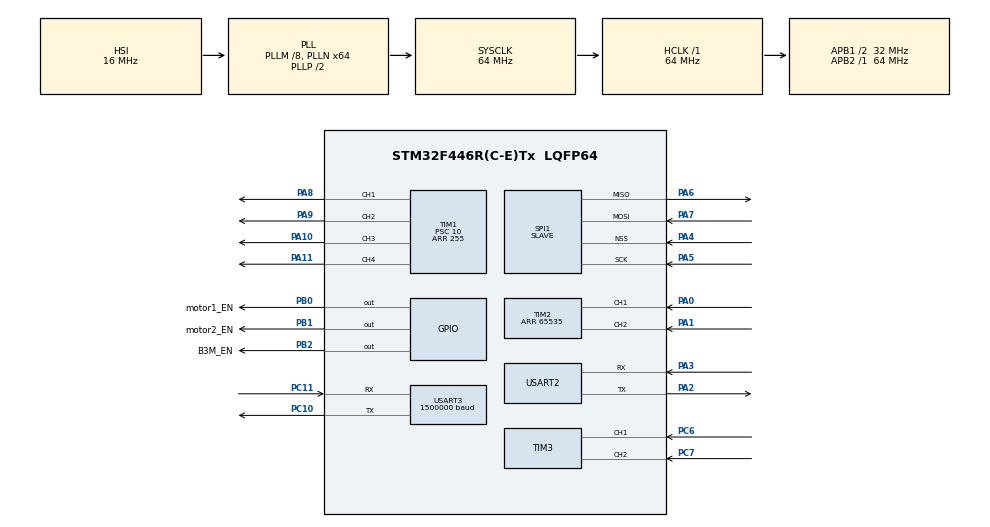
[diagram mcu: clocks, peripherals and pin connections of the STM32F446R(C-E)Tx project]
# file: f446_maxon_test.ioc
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Mcu.Family=STM32F4
Mcu.Name=STM32F446R(C-E)Tx
Mcu.Package=LQFP64
NVIC.PriorityGroup=NVIC_PRIORITYGROUP_4
PA0-WKUP.Signal=S_TIM2_CH1_ETR
PA1.Signal=S_TIM2_CH2
PA10.Signal=S_TIM1_CH3
PA11.Signal=S_TIM1_CH4
PA2.Mode=Asynchronous
PA2.Signal=USART2_TX
PA3.Mode=Asynchronous
PA3.Signal=USART2_RX
PA4.Mode=NSS_Signal_Hard_Input
PA4.Signal=SPI1_NSS
PA5.Mode=Full_Duplex_Slave
PA5.Signal=SPI1_SCK
PA6.Mode=Full_Duplex_Slave
PA6.Signal=SPI1_MISO
PA7.Mode=Full_Duplex_Slave
PA7.Signal=SPI1_MOSI
PA8.Signal=S_TIM1_CH1
PA9.Signal=S_TIM1_CH2
PB0.GPIO_Label=motor1_EN
PB0.Signal=GPIO_Output
PB1.GPIO_Label=motor2_EN
PB1.Signal=GPIO_Output
PB2.GPIO_Label=B3M_EN
PB2.Signal=GPIO_Output
PC10.Mode=Asynchronous
PC10.Signal=USART3_TX
PC11.Mode=Asynchronous
PC11.Signal=USART3_RX
PC6.Signal=S_TIM3_CH1
PC7.Signal=S_TIM3_CH2
ProjectManager.HeapSize=0x200
ProjectManager.StackSize=0x400
ProjectManager.TargetToolchain=STM32CubeIDE
RCC.AHBFreq_Value=64000000
RCC.APB1CLKDivider=RCC_HCLK_DIV2
RCC.APB1Freq_Value=32000000
RCC.APB1TimFreq_Value=64000000
RCC.APB2Freq_Value=64000000
RCC.APB2TimFreq_Value=64000000
RCC.CortexFreq_Value=64000000
RCC.HCLKFreq_Value=64000000
RCC.PLLM=8
RCC.PLLN=64
RCC.SYSCLKFreq_VALUE=64000000
RCC.SYSCLKSource=RCC_SYSCLKSOURCE_PLLCLK
RCC.USBFreq_Value=64000000
RCC.VCOOutputFreq_Value=128000000
SH.S_TIM1_CH1.0=TIM1_CH1,PWM Generation1 CH1
SH.S_TIM1_CH2.0=TIM1_CH2,PWM Generation2 CH2
SH.S_TIM1_CH3.0=TIM1_CH3,PWM Generation3 CH3
SH.S_TIM1_CH4.0=TIM1_CH4,PWM Generation4 CH4
SH.S_TIM2_CH1_ETR.0=TIM2_CH1,Encoder_Interface
SH.S_TIM2_CH2.0=TIM2_CH2,Encoder_Interface
SH.S_TIM3_CH1.0=TIM3_CH1,Encoder_Interface
SH.S_TIM3_CH2.0=TIM3_CH2,Encoder_Interface
SPI1.Direction=SPI_DIRECTION_2LINES
SPI1.Mode=SPI_MODE_SLAVE
SPI1.VirtualNSS=VM_NSSHARD
SPI1.VirtualType=VM_SLAVE
TIM1.Channel-PWM\ Generation1\ CH1=TIM_CHANNEL_1
TIM1.Channel-PWM\ Generation2\ CH2=TIM_CHANNEL_2
TIM1.Channel-PWM\ Generation3\ CH3=TIM_CHANNEL_3
TIM1.Channel-PWM\ Generation4\ CH4=TIM_CHANNEL_4
TIM1.Period=255
TIM1.Prescaler=10
TIM2.Period=65535
USART2.VirtualMode=VM_ASYNC
USART3.BaudRate=1500000
USART3.VirtualMode=VM_ASYNC
VP_TIM1_VS_ClockSourceINT.Mode=Internal
board=custom

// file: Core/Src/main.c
/* USER CODE BEGIN Header */
/**
  ******************************************************************************
  * @file           : main.c
  * @brief          : Main program body
  ******************************************************************************
  * @attention
  *
  * <h2><center>&copy; Copyright (c) 2021 STMicroelectronics.
  * All rights reserved.</center></h2>
  *
  * This software component is licensed by ST under BSD 3-Clause license,
  * the "License"; You may not use this file except in compliance with the
  * License. You may obtain a copy of the License at:
  *                        opensource.org/licenses/BSD-3-Clause
  *
  ******************************************************************************
  */
/* USER CODE END Header */
#include "main.h"

SPI_HandleTypeDef hspi1;

TIM_HandleTypeDef htim1;
TIM_HandleTypeDef htim2;
TIM_HandleTypeDef htim3;

UART_HandleTypeDef huart2;
UART_HandleTypeDef huart3;

void SystemClock_Config(void);
static void MX_GPIO_Init(void);
static void MX_USART2_UART_Init(void);
static void MX_TIM1_Init(void);
static void MX_SPI1_Init(void);
static void MX_TIM2_Init(void);
static void MX_TIM3_Init(void);
static void MX_USART3_UART_Init(void);

/* USER CODE BEGIN 0 */
int16_t get_encoder( void )
{
  uint16_t enc_buff = TIM1->CNT;
  TIM1->CNT = 0;
  if (enc_buff > 32767)
  {
    return (int16_t)enc_buff * -1;
  }
  else
  {
    return (int16_t)enc_buff;
  }
}
/* USER CODE END 0 */

int main(void)
{

  /* MCU Configuration--------------------------------------------------------*/

  /* Reset of all peripherals, Initializes the Flash interface and the Systick. */
  HAL_Init();

  /* Configure the system clock */
  SystemClock_Config();

  /* Initialize all configured peripherals */
  MX_GPIO_Init();
  MX_USART2_UART_Init();
  MX_TIM1_Init();
  MX_SPI1_Init();
  MX_TIM2_Init();
  MX_TIM3_Init();
  MX_USART3_UART_Init();
  /* USER CODE BEGIN 2 */

  short duty;
  int cnt= 0;
  int cnt2 = 0;
  char rxbuf[]="Start SPI test\r\n";
  char enter[] = "\r\n";
  unsigned char aTxBuffer[] = {0};
  uint8_t aRxBuffer[2]={0};

  HAL_UART_Transmit(&huart2,(uint8_t*) rxbuf, sizeof(rxbuf), 100);

  HAL_TIM_PWM_Start(&htim1,TIM_CHANNEL_1);
  HAL_TIM_PWM_Start(&htim1,TIM_CHANNEL_2);
  HAL_TIM_PWM_Start(&htim1,TIM_CHANNEL_3);
  HAL_TIM_PWM_Start(&htim1,TIM_CHANNEL_4);
  HAL_TIM_Encoder_Start(&htim2, TIM_CHANNEL_ALL);
  HAL_TIM_Encoder_Start(&htim3, TIM_CHANNEL_ALL);

  HAL_GPIO_WritePin(GPIOB, GPIO_PIN_1, GPIO_PIN_SET);
  __HAL_TIM_SET_COMPARE(&htim1,TIM_CHANNEL_3,100);
  __HAL_TIM_SET_COMPARE(&htim1,TIM_CHANNEL_4,0);
  HAL_GPIO_WritePin(GPIOB, GPIO_PIN_0, GPIO_PIN_SET);
  __HAL_TIM_SET_COMPARE(&htim1,TIM_CHANNEL_1,100);
  __HAL_TIM_SET_COMPARE(&htim1,TIM_CHANNEL_2,0);

  /* USER CODE END 2 */

  /* Infinite loop */
  while (1)
  {

    /* USER CODE BEGIN 3 */
	  while(1){
	    //ラズパイからの応答まち
	 	HAL_SPI_TransmitReceive(&hspi1,(uint8_t*)aTxBuffer,(uint8_t*)aRxBuffer,1,100);
	 	 if(aRxBuffer[0]!=0){
	 		 aTxBuffer[0]=aRxBuffer[0];

	 		 break;
	 	 }
	  }
	  //�?字化けを防ぐため文字�?�に置き換えてPCに送信
	  char PC_txdata[256]={'\0'};
	  sprintf(PC_txdata,"%s",aRxBuffer);
	  HAL_UART_Transmit(&huart2,(uint8_t*)PC_txdata, sizeof(PC_txdata), 100);
	  HAL_UART_Transmit(&huart2,(uint8_t*) enter, sizeof(enter), 100);

	  if(aTxBuffer[0] == 48){
		  printf( "motor stop\r\n" );
		  HAL_GPIO_WritePin(GPIOB, GPIO_PIN_0, GPIO_PIN_RESET);
		  HAL_GPIO_WritePin(GPIOB, GPIO_PIN_1, GPIO_PIN_RESET);
	  } else if(aTxBuffer[0] == 49){
		  printf( "motor rolling\r\n" );
		  HAL_GPIO_WritePin(GPIOB, GPIO_PIN_0, GPIO_PIN_SET);
		  HAL_GPIO_WritePin(GPIOB, GPIO_PIN_1, GPIO_PIN_SET);
	  }
	  aRxBuffer[0]=0;

	  cnt = TIM2 -> CNT;
	  cnt2 = TIM3 -> CNT;
//	  printf( "encoder = %d\r\n",count_total );
	  printf( "encoder = %d,%d\r\n",cnt,cnt2 );
	  HAL_Delay(100);

  }
  /* USER CODE END 3 */
}

void SystemClock_Config(void)
{
  RCC_OscInitTypeDef RCC_OscInitStruct = {0};
  RCC_ClkInitTypeDef RCC_ClkInitStruct = {0};

  /** Configure the main internal regulator output voltage
  */
  __HAL_RCC_PWR_CLK_ENABLE();
  __HAL_PWR_VOLTAGESCALING_CONFIG(PWR_REGULATOR_VOLTAGE_SCALE3);
  /** Initializes the RCC Oscillators according to the specified parameters
  * in the RCC_OscInitTypeDef structure.
  */
  RCC_OscInitStruct.OscillatorType = RCC_OSCILLATORTYPE_HSI;
  RCC_OscInitStruct.HSIState = RCC_HSI_ON;
  RCC_OscInitStruct.HSICalibrationValue = RCC_HSICALIBRATION_DEFAULT;
  RCC_OscInitStruct.PLL.PLLState = RCC_PLL_ON;
  RCC_OscInitStruct.PLL.PLLSource = RCC_PLLSOURCE_HSI;
  RCC_OscInitStruct.PLL.PLLM = 8;
  RCC_OscInitStruct.PLL.PLLN = 64;
  RCC_OscInitStruct.PLL.PLLP = RCC_PLLP_DIV2;
  RCC_OscInitStruct.PLL.PLLQ = 2;
  RCC_OscInitStruct.PLL.PLLR = 2;
  if (HAL_RCC_OscConfig(&RCC_OscInitStruct) != HAL_OK)
  {
    Error_Handler();
  }
  /** Initializes the CPU, AHB and APB buses clocks
  */
  RCC_ClkInitStruct.ClockType = RCC_CLOCKTYPE_HCLK|RCC_CLOCKTYPE_SYSCLK
                              |RCC_CLOCKTYPE_PCLK1|RCC_CLOCKTYPE_PCLK2;
  RCC_ClkInitStruct.SYSCLKSource = RCC_SYSCLKSOURCE_PLLCLK;
  RCC_ClkInitStruct.AHBCLKDivider = RCC_SYSCLK_DIV1;
  RCC_ClkInitStruct.APB1CLKDivider = RCC_HCLK_DIV2;
  RCC_ClkInitStruct.APB2CLKDivider = RCC_HCLK_DIV1;

  if (HAL_RCC_ClockConfig(&RCC_ClkInitStruct, FLASH_LATENCY_2) != HAL_OK)
  {
    Error_Handler();
  }
}

static void MX_SPI1_Init(void)
{

  /* SPI1 parameter configuration*/
  hspi1.Instance = SPI1;
  hspi1.Init.Mode = SPI_MODE_SLAVE;
  hspi1.Init.Direction = SPI_DIRECTION_2LINES;
  hspi1.Init.DataSize = SPI_DATASIZE_8BIT;
  hspi1.Init.CLKPolarity = SPI_POLARITY_LOW;
  hspi1.Init.CLKPhase = SPI_PHASE_1EDGE;
  hspi1.Init.NSS = SPI_NSS_HARD_INPUT;
  hspi1.Init.FirstBit = SPI_FIRSTBIT_MSB;
  hspi1.Init.TIMode = SPI_TIMODE_DISABLE;
  hspi1.Init.CRCCalculation = SPI_CRCCALCULATION_DISABLE;
  hspi1.Init.CRCPolynomial = 10;
  if (HAL_SPI_Init(&hspi1) != HAL_OK)
  {
    Error_Handler();
  }

}

static void MX_TIM1_Init(void)
{

  TIM_ClockConfigTypeDef sClockSourceConfig = {0};
  TIM_MasterConfigTypeDef sMasterConfig = {0};
  TIM_OC_InitTypeDef sConfigOC = {0};
  TIM_BreakDeadTimeConfigTypeDef sBreakDeadTimeConfig = {0};

  htim1.Instance = TIM1;
  htim1.Init.Prescaler = 10;
  htim1.Init.CounterMode = TIM_COUNTERMODE_UP;
  htim1.Init.Period = 255;
  htim1.Init.ClockDivision = TIM_CLOCKDIVISION_DIV1;
  htim1.Init.RepetitionCounter = 0;
  htim1.Init.AutoReloadPreload = TIM_AUTORELOAD_PRELOAD_DISABLE;
  if (HAL_TIM_Base_Init(&htim1) != HAL_OK)
  {
    Error_Handler();
  }
  sClockSourceConfig.ClockSource = TIM_CLOCKSOURCE_INTERNAL;
  if (HAL_TIM_ConfigClockSource(&htim1, &sClockSourceConfig) != HAL_OK)
  {
    Error_Handler();
  }
  if (HAL_TIM_PWM_Init(&htim1) != HAL_OK)
  {
    Error_Handler();
  }
  sMasterConfig.MasterOutputTrigger = TIM_TRGO_RESET;
  sMasterConfig.MasterSlaveMode = TIM_MASTERSLAVEMODE_DISABLE;
  if (HAL_TIMEx_MasterConfigSynchronization(&htim1, &sMasterConfig) != HAL_OK)
  {
    Error_Handler();
  }
  sConfigOC.OCMode = TIM_OCMODE_PWM1;
  sConfigOC.Pulse = 0;
  sConfigOC.OCPolarity = TIM_OCPOLARITY_HIGH;
  sConfigOC.OCNPolarity = TIM_OCNPOLARITY_HIGH;
  sConfigOC.OCFastMode = TIM_OCFAST_DISABLE;
  sConfigOC.OCIdleState = TIM_OCIDLESTATE_RESET;
  sConfigOC.OCNIdleState = TIM_OCNIDLESTATE_RESET;
  if (HAL_TIM_PWM_ConfigChannel(&htim1, &sConfigOC, TIM_CHANNEL_1) != HAL_OK)
  {
    Error_Handler();
  }
  if (HAL_TIM_PWM_ConfigChannel(&htim1, &sConfigOC, TIM_CHANNEL_2) != HAL_OK)
  {
    Error_Handler();
  }
  if (HAL_TIM_PWM_ConfigChannel(&htim1, &sConfigOC, TIM_CHANNEL_3) != HAL_OK)
  {
    Error_Handler();
  }
  if (HAL_TIM_PWM_ConfigChannel(&htim1, &sConfigOC, TIM_CHANNEL_4) != HAL_OK)
  {
    Error_Handler();
  }
  sBreakDeadTimeConfig.OffStateRunMode = TIM_OSSR_DISABLE;
  sBreakDeadTimeConfig.OffStateIDLEMode = TIM_OSSI_DISABLE;
  sBreakDeadTimeConfig.LockLevel = TIM_LOCKLEVEL_OFF;
  sBreakDeadTimeConfig.DeadTime = 0;
  sBreakDeadTimeConfig.BreakState = TIM_BREAK_DISABLE;
  sBreakDeadTimeConfig.BreakPolarity = TIM_BREAKPOLARITY_HIGH;
  sBreakDeadTimeConfig.AutomaticOutput = TIM_AUTOMATICOUTPUT_DISABLE;
  if (HAL_TIMEx_ConfigBreakDeadTime(&htim1, &sBreakDeadTimeConfig) != HAL_OK)
  {
    Error_Handler();
  }
  HAL_TIM_MspPostInit(&htim1);

}

static void MX_TIM2_Init(void)
{

  TIM_Encoder_InitTypeDef sConfig = {0};
  TIM_MasterConfigTypeDef sMasterConfig = {0};

  htim2.Instance = TIM2;
  htim2.Init.Prescaler = 0;
  htim2.Init.CounterMode = TIM_COUNTERMODE_UP;
  htim2.Init.Period = 65535;
  htim2.Init.ClockDivision = TIM_CLOCKDIVISION_DIV1;
  htim2.Init.AutoReloadPreload = TIM_AUTORELOAD_PRELOAD_DISABLE;
  sConfig.EncoderMode = TIM_ENCODERMODE_TI1;
  sConfig.IC1Polarity = TIM_ICPOLARITY_RISING;
  sConfig.IC1Selection = TIM_ICSELECTION_DIRECTTI;
  sConfig.IC1Prescaler = TIM_ICPSC_DIV1;
  sConfig.IC1Filter = 0;
  sConfig.IC2Polarity = TIM_ICPOLARITY_RISING;
  sConfig.IC2Selection = TIM_ICSELECTION_DIRECTTI;
  sConfig.IC2Prescaler = TIM_ICPSC_DIV1;
  sConfig.IC2Filter = 0;
  if (HAL_TIM_Encoder_Init(&htim2, &sConfig) != HAL_OK)
  {
    Error_Handler();
  }
  sMasterConfig.MasterOutputTrigger = TIM_TRGO_RESET;
  sMasterConfig.MasterSlaveMode = TIM_MASTERSLAVEMODE_DISABLE;
  if (HAL_TIMEx_MasterConfigSynchronization(&htim2, &sMasterConfig) != HAL_OK)
  {
    Error_Handler();
  }

}

static void MX_TIM3_Init(void)
{

  TIM_Encoder_InitTypeDef sConfig = {0};
  TIM_MasterConfigTypeDef sMasterConfig = {0};

  htim3.Instance = TIM3;
  htim3.Init.Prescaler = 0;
  htim3.Init.CounterMode = TIM_COUNTERMODE_UP;
  htim3.Init.Period = 65535;
  htim3.Init.ClockDivision = TIM_CLOCKDIVISION_DIV1;
  htim3.Init.AutoReloadPreload = TIM_AUTORELOAD_PRELOAD_DISABLE;
  sConfig.EncoderMode = TIM_ENCODERMODE_TI1;
  sConfig.IC1Polarity = TIM_ICPOLARITY_RISING;
  sConfig.IC1Selection = TIM_ICSELECTION_DIRECTTI;
  sConfig.IC1Prescaler = TIM_ICPSC_DIV1;
  sConfig.IC1Filter = 0;
  sConfig.IC2Polarity = TIM_ICPOLARITY_RISING;
  sConfig.IC2Selection = TIM_ICSELECTION_DIRECTTI;
  sConfig.IC2Prescaler = TIM_ICPSC_DIV1;
  sConfig.IC2Filter = 0;
  if (HAL_TIM_Encoder_Init(&htim3, &sConfig) != HAL_OK)
  {
    Error_Handler();
  }
  sMasterConfig.MasterOutputTrigger = TIM_TRGO_RESET;
  sMasterConfig.MasterSlaveMode = TIM_MASTERSLAVEMODE_DISABLE;
  if (HAL_TIMEx_MasterConfigSynchronization(&htim3, &sMasterConfig) != HAL_OK)
  {
    Error_Handler();
  }

}

static void MX_USART2_UART_Init(void)
{

  huart2.Instance = USART2;
  huart2.Init.BaudRate = 115200;
  huart2.Init.WordLength = UART_WORDLENGTH_8B;
  huart2.Init.StopBits = UART_STOPBITS_1;
  huart2.Init.Parity = UART_PARITY_NONE;
  huart2.Init.Mode = UART_MODE_TX_RX;
  huart2.Init.HwFlowCtl = UART_HWCONTROL_NONE;
  huart2.Init.OverSampling = UART_OVERSAMPLING_16;
  if (HAL_UART_Init(&huart2) != HAL_OK)
  {
    Error_Handler();
  }

}

static void MX_USART3_UART_Init(void)
{

  huart3.Instance = USART3;
  huart3.Init.BaudRate = 1500000;
  huart3.Init.WordLength = UART_WORDLENGTH_8B;
  huart3.Init.StopBits = UART_STOPBITS_1;
  huart3.Init.Parity = UART_PARITY_NONE;
  huart3.Init.Mode = UART_MODE_TX_RX;
  huart3.Init.HwFlowCtl = UART_HWCONTROL_NONE;
  huart3.Init.OverSampling = UART_OVERSAMPLING_16;
  if (HAL_UART_Init(&huart3) != HAL_OK)
  {
    Error_Handler();
  }

}

static void MX_GPIO_Init(void)
{
  GPIO_InitTypeDef GPIO_InitStruct = {0};

  /* GPIO Ports Clock Enable */
  __HAL_RCC_GPIOA_CLK_ENABLE();
  __HAL_RCC_GPIOB_CLK_ENABLE();
  __HAL_RCC_GPIOC_CLK_ENABLE();

  /*Configure GPIO pin Output Level */
  HAL_GPIO_WritePin(GPIOB, motor1_EN_Pin|motor2_EN_Pin|B3M_EN_Pin, GPIO_PIN_RESET);

  /*Configure GPIO pins : motor1_EN_Pin motor2_EN_Pin B3M_EN_Pin */
  GPIO_InitStruct.Pin = motor1_EN_Pin|motor2_EN_Pin|B3M_EN_Pin;
  GPIO_InitStruct.Mode = GPIO_MODE_OUTPUT_PP;
  GPIO_InitStruct.Pull = GPIO_NOPULL;
  GPIO_InitStruct.Speed = GPIO_SPEED_FREQ_LOW;
  HAL_GPIO_Init(GPIOB, &GPIO_InitStruct);

}

/* USER CODE BEGIN 4 */

int _write(int file, char *ptr, int len)
{
  HAL_UART_Transmit(&huart2,(uint8_t *)ptr,len,10);
  return len;
}

/* USER CODE END 4 */

void Error_Handler(void)
{
  __disable_irq();
  while (1)
  {
  }
}

/************************ (C) COPYRIGHT STMicroelectronics *****END OF FILE****/
